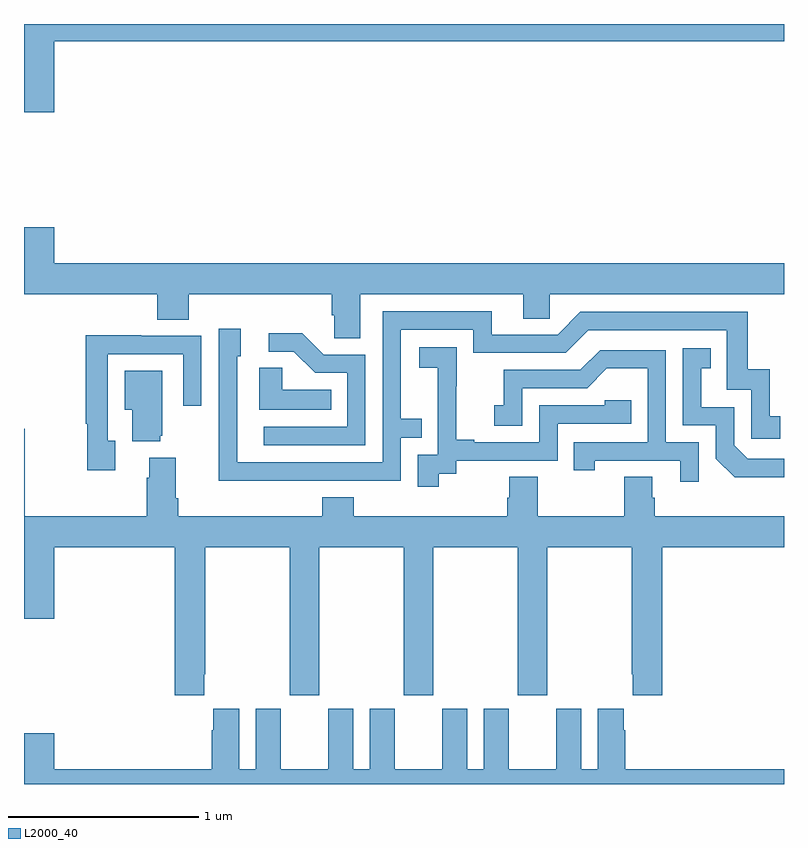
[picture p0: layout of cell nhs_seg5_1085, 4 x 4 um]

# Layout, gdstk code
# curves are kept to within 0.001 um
import gdstk
lib = gdstk.Library(unit=1e-6, precision=1e-09)
def P(c, l, *ps):  # polygons
    for p in ps: c.add(gdstk.Polygon(p, *l))
L2000_40 = (2000, 40)

nhs_seg5_1085 = lib.new_cell('nhs_seg5_1085')
P(nhs_seg5_1085, L2000_40, [(177.16,908.708),(181,908.708),(181,908.799),(177,908.799),(177,908.334),(177.16,908.334)],
  [(178.771,907.376),(179.627,907.376),(179.627,907.249),(179.766,907.249),(179.766,907.376),(181,907.376),(181,907.54),(177.16,907.54),(177.16,907.729),(177,907.729),(177,907.376),(177.701,907.376),(177.701,907.243),(177.866,907.243),(177.866,907.376),(178.619,907.376),(178.619,907.267),(178.632,907.267),(178.632,907.144),(178.771,907.144)],
  [(178.487,906.396),(178.983,906.396),(178.983,906.621),(179.093,906.621),(179.093,906.722),(178.983,906.722),(178.983,907.191),(179.364,907.191),(179.364,907.068),(179.85,907.068),(179.97,907.188),(180.699,907.188),(180.699,906.873),(180.828,906.873),(180.828,906.615),(180.979,906.615),(180.979,906.735),(180.926,906.735),(180.926,906.982),(180.808,906.982),(180.808,907.284),(179.928,907.284),(179.808,907.164),(179.461,907.164),(179.461,907.287),(178.887,907.287),(178.887,906.492),(178.122,906.492),(178.122,907.05),(178.141,907.05),(178.141,907.195),(178.026,907.195),(178.026,906.701),(178.024,906.701),(178.024,906.395)],
  [(178.797,907.059),(178.578,907.059),(178.465,907.172),(178.287,907.172),(178.287,907.074),(178.421,907.074),(178.532,906.963),(178.701,906.963),(178.701,906.678),(178.263,906.678),(178.263,906.582),(178.797,906.582)],
  [(177.481,906.606),(177.441,906.606),(177.441,907.062),(177.837,907.062),(177.837,906.789),(177.933,906.789),(177.933,907.158),(177.617,907.158),(177.617,907.16),(177.325,907.16),(177.325,906.694),(177.333,906.694),(177.333,906.45),(177.481,906.45)],
  [(179.182,906.433),(179.274,906.433),(179.274,906.501),(179.808,906.501),(179.808,906.696),(180.197,906.696),(180.197,906.819),(180.057,906.819),(180.057,906.792),(179.712,906.792),(179.712,906.597),(179.371,906.597),(179.371,906.61),(179.276,906.61),(179.276,906.893),(179.277,906.893),(179.277,907.099),(179.079,907.099),(179.079,906.989),(179.177,906.989),(179.177,906.761),(179.178,906.761),(179.178,906.531),(179.073,906.531),(179.073,906.363),(179.182,906.363)],
  [(181,906.51),(180.81,906.51),(180.738,906.582),(180.738,906.783),(180.565,906.783),(180.565,906.987),(180.614,906.987),(180.614,907.093),(180.468,907.093),(180.468,906.687),(180.642,906.687),(180.642,906.51),(180.74,906.413),(181,906.413)],
  [(180.552,906.597),(180.378,906.597),(180.378,907.083),(180.032,907.083),(179.927,906.978),(179.524,906.978),(179.524,906.793),(179.475,906.793),(179.475,906.684),(179.622,906.684),(179.622,906.882),(179.964,906.882),(180.068,906.986),(180.282,906.986),(180.282,906.597),(179.893,906.597),(179.893,906.45),(180.004,906.45),(180.004,906.501),(180.455,906.501),(180.455,906.39),(180.552,906.39)],
  [(178.616,906.874),(178.359,906.874),(178.359,906.989),(178.238,906.989),(178.238,906.77),(178.616,906.77)],
  [(177.716,906.633),(177.727,906.633),(177.727,906.973),(177.53,906.973),(177.53,906.77),(177.569,906.77),(177.569,906.602),(177.716,906.602)],
  [(177.949,905.377),(177.954,905.377),(177.954,906.044),(178.399,906.044),(178.399,905.265),(178.554,905.265),(178.554,906.044),(178.999,906.044),(178.999,905.265),(179.154,905.265),(179.154,906.044),(179.599,906.044),(179.599,905.265),(179.754,905.265),(179.754,906.044),(180.199,906.044),(180.199,905.377),(180.203,905.377),(180.203,905.265),(180.359,905.265),(180.359,906.044),(181,906.044),(181,906.208),(180.32,906.208),(180.32,906.306),(180.307,906.306),(180.307,906.416),(180.16,906.416),(180.16,906.208),(179.703,906.208),(179.703,906.416),(179.555,906.416),(179.555,906.306),(179.543,906.306),(179.543,906.208),(178.736,906.208),(178.736,906.307),(178.571,906.307),(178.571,906.208),(177.812,906.208),(177.812,906.304),(177.799,906.304),(177.799,906.517),(177.659,906.517),(177.659,906.41),(177.647,906.41),(177.647,906.208),(177.003,906.208),(177.003,906.67),(177,906.67),(177,905.67),(177.16,905.67),(177.16,906.044),(177.794,906.044),(177.794,905.265),(177.949,905.265)],
  [(181,904.876),(180.164,904.876),(180.164,905.081),(180.157,905.081),(180.157,905.194),(180.02,905.194),(180.02,904.876),(179.932,904.876),(179.932,905.194),(179.801,905.194),(179.801,904.876),(179.551,904.876),(179.551,905.194),(179.42,905.194),(179.42,904.876),(179.332,904.876),(179.332,905.194),(179.201,905.194),(179.201,904.876),(178.951,904.876),(178.951,905.194),(178.82,905.194),(178.82,904.876),(178.732,904.876),(178.732,905.194),(178.601,905.194),(178.601,904.876),(178.351,904.876),(178.351,905.194),(178.22,905.194),(178.22,904.876),(178.132,904.876),(178.132,905.194),(177.995,905.194),(177.995,905.081),(177.989,905.081),(177.989,904.876),(177.16,904.876),(177.16,905.065),(177,905.065),(177,904.799),(181,904.799)])

lib.write_gds('nhs_seg5_1085.gds')
